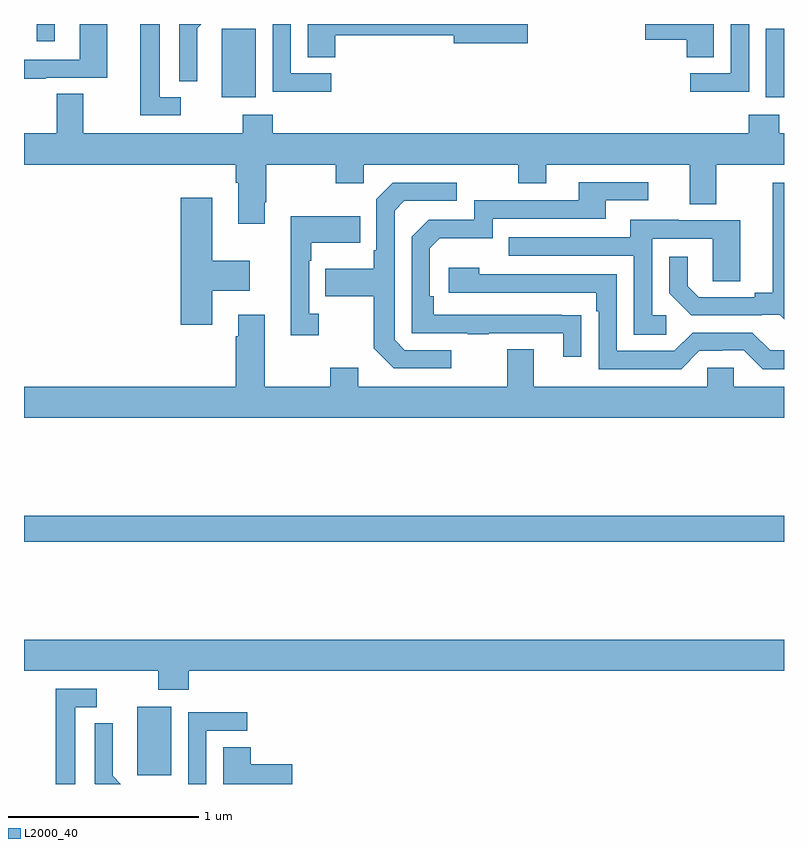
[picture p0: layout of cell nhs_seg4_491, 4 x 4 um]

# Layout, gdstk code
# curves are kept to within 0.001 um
import gdstk
lib = gdstk.Library(unit=1e-6, precision=1e-09)
def R(c, l, rs):  # rectangles x0, y0, x1, y1
    for r in rs: c.add(gdstk.rectangle(r[:2], r[2:], *l))
def P(c, l, *ps):  # polygons
    for p in ps: c.add(gdstk.Polygon(p, *l))
L2000_40 = (2000, 40)

nhs_seg4_491 = lib.new_cell('nhs_seg4_491')
R(nhs_seg4_491, L2000_40, [(135.596,786.945,135.775,787.306), (135,788.176,139,788.312), (136.04,790.514,136.219,790.875), (138.905,790.514,139,790.875), (135.066,790.809,135.163,790.9)])
P(nhs_seg4_491, L2000_40, [(135.826,790.515),(135.715,790.515),(135.715,790.9),(135.611,790.9),(135.611,790.419),(135.826,790.419)],
  [(135.912,790.754),(135.911,790.754),(135.911,790.877),(135.934,790.9),(135.816,790.9),(135.816,790.6),(135.912,790.6)],
  [(136.618,790.641),(136.404,790.641),(136.404,790.9),(136.308,790.9),(136.308,790.543),(136.618,790.543)],
  [(138.816,790.9),(138.72,790.9),(138.72,790.641),(138.507,790.641),(138.507,790.543),(138.816,790.543)],
  [(135.115,790.617),(135.439,790.617),(135.439,790.9),(135.294,790.9),(135.294,790.713),(135,790.713),(135,790.613),(135.115,790.613)],
  [(136.637,790.84),(137.261,790.84),(137.261,790.798),(137.65,790.798),(137.65,790.9),(136.493,790.9),(136.493,790.726),(136.637,790.726)],
  [(138.631,790.9),(138.27,790.9),(138.27,790.817),(138.488,790.817),(138.488,790.726),(138.631,790.726)],
  [(136.267,789.961),(136.275,789.961),(136.275,790.16),(136.642,790.16),(136.642,790.061),(136.788,790.061),(136.788,790.16),(137.602,790.16),(137.602,790.061),(137.749,790.061),(137.749,790.16),(138.503,790.16),(138.503,789.952),(138.643,789.952),(138.643,790.16),(139,790.16),(139,790.324),(138.975,790.324),(138.975,790.423),(138.815,790.423),(138.815,790.324),(136.31,790.324),(136.31,790.423),(136.15,790.423),(136.15,790.324),(135.313,790.324),(135.313,790.532),(135.173,790.532),(135.173,790.324),(135,790.324),(135,790.16),(136.115,790.16),(136.115,790.064),(136.127,790.064),(136.127,789.849),(136.267,789.849)],
  [(137.933,789.368),(137.156,789.369),(137.156,789.466),(137.136,789.466),(137.136,789.72),(137.189,789.773),(137.466,789.773),(137.466,789.876),(138.061,789.876),(138.061,789.972),(138.286,789.972),(138.286,790.068),(137.921,790.068),(137.921,789.972),(137.37,789.972),(137.37,789.87),(137.13,789.87),(137.04,789.78),(137.04,789.273),(137.335,789.273),(137.335,789.268),(137.447,789.268),(137.447,789.273),(137.837,789.273),(137.837,789.15),(137.933,789.15)],
  [(139,790.065),(138.941,790.065),(138.941,789.485),(138.845,789.485),(138.845,789.462),(138.55,789.462),(138.493,789.519),(138.493,789.676),(138.396,789.676),(138.396,789.482),(138.512,789.366),(138.884,789.366),(138.884,789.369),(138.978,789.369),(139,789.347)],
  [(137.248,789.183),(137.004,789.183),(136.95,789.237),(136.95,789.918),(137.001,789.969),(137.278,789.969),(137.278,790.065),(136.941,790.065),(136.854,789.978),(136.854,789.709),(136.842,789.709),(136.842,789.613),(136.585,789.613),(136.585,789.466),(136.842,789.466),(136.842,789.193),(136.947,789.087),(137.248,789.087)],
  [(135.991,789.497),(136.189,789.497),(136.189,789.655),(135.991,789.655),(135.991,789.985),(135.824,789.985),(135.824,789.318),(135.991,789.318)],
  [(136.552,789.374),(136.5,789.374),(136.5,789.653),(136.513,789.653),(136.513,789.749),(136.769,789.749),(136.769,789.889),(136.403,789.889),(136.403,789.261),(136.552,789.261)],
  [(138.379,789.366),(138.306,789.366),(138.306,789.771),(138.624,789.771),(138.624,789.547),(138.769,789.547),(138.769,789.867),(138.445,789.867),(138.445,789.871),(138.191,789.871),(138.191,789.777),(137.551,789.777),(137.551,789.681),(138.21,789.681),(138.21,789.265),(138.379,789.265)],
  [(139,789.183),(138.927,789.183),(138.834,789.276),(138.519,789.276),(138.423,789.18),(138.12,789.18),(138.12,789.582),(137.396,789.582),(137.396,789.616),(137.235,789.616),(137.235,789.486),(138.011,789.486),(138.011,789.389),(138.024,789.389),(138.024,789.084),(138.459,789.084),(138.555,789.18),(138.674,789.18),(138.674,789.183),(138.789,789.183),(138.889,789.083),(139,789.083)],
  [(139,788.992),(138.735,788.992),(138.735,789.09),(138.597,789.09),(138.597,788.992),(137.683,788.992),(137.683,789.187),(137.543,789.187),(137.543,788.992),(136.759,788.992),(136.759,789.091),(136.612,789.091),(136.612,788.992),(136.267,788.992),(136.267,789.37),(136.127,789.37),(136.127,789.257),(136.115,789.257),(136.115,788.992),(135,788.992),(135,788.828),(139,788.828)],
  [(135.866,787.496),(139,787.496),(139,787.66),(135,787.66),(135,787.496),(135.706,787.496),(135.706,787.397),(135.866,787.397)],
  [(135.271,787.305),(135.382,787.305),(135.382,787.401),(135.167,787.401),(135.167,786.9),(135.271,786.9)],
  [(135.96,787.179),(136.174,787.179),(136.174,787.278),(135.864,787.278),(135.864,786.9),(135.96,786.9)],
  [(135.467,786.944),(135.467,787.066),(135.468,787.066),(135.468,787.22),(135.372,787.22),(135.372,786.902),(135.374,786.9),(135.51,786.9)],
  [(136.411,787.004),(136.193,787.004),(136.193,787.094),(136.049,787.094),(136.049,786.9),(136.411,786.9)])

lib.write_gds('nhs_seg4_491.gds')
